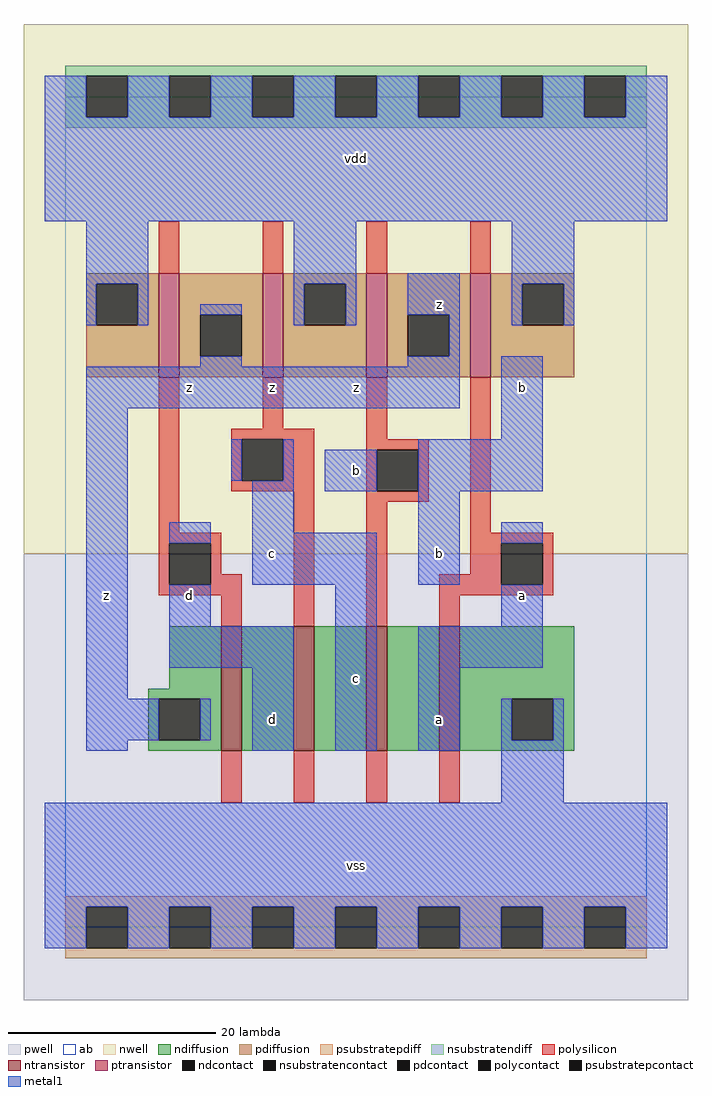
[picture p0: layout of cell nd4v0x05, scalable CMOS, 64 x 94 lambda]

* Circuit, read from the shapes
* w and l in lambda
.subckt nd4v0x05 a b c d vdd vss z
M1 n1 d z vss nfet w=12 l=2
M2 n2 c n1 vss nfet w=12 l=2
M3 n3 b n2 vss nfet w=12 l=2
M4 vss a n3 vss nfet w=12 l=2
M5 z d vdd vdd pfet w=10 l=2
M6 vdd c z vdd pfet w=10 l=2
M7 z b vdd vdd pfet w=10 l=2
M8 vdd a z vdd pfet w=10 l=2
.ends

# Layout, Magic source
magic
tech scmos
<< ab >>
rect 0 0 56 80
<< pwell >>
rect -4 -7 60 36
<< nwell >>
rect -4 36 60 87
<< polysilicon >>
rect 9 63 11 68
rect 19 63 21 68
rect 29 63 31 68
rect 39 63 41 68
rect 9 38 11 53
rect 19 48 21 53
rect 16 47 24 48
rect 16 43 17 47
rect 21 43 24 47
rect 16 42 24 43
rect 9 37 15 38
rect 9 33 10 37
rect 14 34 15 37
rect 14 33 17 34
rect 9 32 17 33
rect 15 29 17 32
rect 22 29 24 42
rect 29 47 31 53
rect 29 46 35 47
rect 29 42 30 46
rect 34 42 35 46
rect 29 41 35 42
rect 29 29 31 41
rect 39 38 41 53
rect 39 37 47 38
rect 39 34 42 37
rect 36 33 42 34
rect 46 33 47 37
rect 36 32 47 33
rect 36 29 38 32
rect 15 12 17 17
rect 22 12 24 17
rect 29 12 31 17
rect 36 12 38 17
<< ndiffusion >>
rect 10 23 15 29
rect 8 22 15 23
rect 8 18 9 22
rect 13 18 15 22
rect 8 17 15 18
rect 17 17 22 29
rect 24 17 29 29
rect 31 17 36 29
rect 38 22 49 29
rect 38 18 43 22
rect 47 18 49 22
rect 38 17 49 18
<< pdiffusion >>
rect 2 62 9 63
rect 2 58 3 62
rect 7 58 9 62
rect 2 53 9 58
rect 11 59 19 63
rect 11 55 13 59
rect 17 55 19 59
rect 11 53 19 55
rect 21 62 29 63
rect 21 58 23 62
rect 27 58 29 62
rect 21 53 29 58
rect 31 59 39 63
rect 31 55 33 59
rect 37 55 39 59
rect 31 53 39 55
rect 41 62 49 63
rect 41 58 44 62
rect 48 58 49 62
rect 41 53 49 58
<< metal1 >>
rect -2 78 2 82
rect 6 78 10 82
rect 14 78 18 82
rect 22 78 26 82
rect 30 78 34 82
rect 38 78 42 82
rect 46 78 50 82
rect 54 78 58 82
rect -2 68 58 78
rect 2 62 8 68
rect 2 58 3 62
rect 7 58 8 62
rect 22 62 28 68
rect 13 59 17 60
rect 22 58 23 62
rect 27 58 28 62
rect 33 59 38 63
rect 13 54 17 55
rect 37 55 38 59
rect 43 62 49 68
rect 43 58 44 62
rect 48 58 49 62
rect 33 54 38 55
rect 2 50 38 54
rect 2 22 6 50
rect 42 47 46 55
rect 16 43 17 47
rect 21 43 22 47
rect 10 37 14 39
rect 18 38 22 43
rect 25 42 30 46
rect 34 42 46 47
rect 18 33 30 38
rect 34 33 38 42
rect 42 37 46 39
rect 10 29 14 33
rect 10 25 22 29
rect 2 18 9 22
rect 13 18 14 22
rect 2 17 6 18
rect 18 17 22 25
rect 26 17 30 33
rect 42 29 46 33
rect 34 25 46 29
rect 34 17 38 25
rect 42 18 43 22
rect 47 18 48 22
rect 42 12 48 18
rect -2 2 58 12
rect -2 -2 2 2
rect 6 -2 10 2
rect 14 -2 18 2
rect 22 -2 26 2
rect 30 -2 34 2
rect 38 -2 42 2
rect 46 -2 50 2
rect 54 -2 58 2
<< ntransistor >>
rect 15 17 17 29
rect 22 17 24 29
rect 29 17 31 29
rect 36 17 38 29
<< ptransistor >>
rect 9 53 11 63
rect 19 53 21 63
rect 29 53 31 63
rect 39 53 41 63
<< polycontact >>
rect 17 43 21 47
rect 10 33 14 37
rect 30 42 34 46
rect 42 33 46 37
<< ndcontact >>
rect 9 18 13 22
rect 43 18 47 22
<< pdcontact >>
rect 3 58 7 62
rect 13 55 17 59
rect 23 58 27 62
rect 33 55 37 59
rect 44 58 48 62
<< psubstratepcontact >>
rect 2 -2 6 2
rect 10 -2 14 2
rect 18 -2 22 2
rect 26 -2 30 2
rect 34 -2 38 2
rect 42 -2 46 2
rect 50 -2 54 2
<< nsubstratencontact >>
rect 2 78 6 82
rect 10 78 14 82
rect 18 78 22 82
rect 26 78 30 82
rect 34 78 38 82
rect 42 78 46 82
rect 50 78 54 82
<< psubstratepdiff >>
rect 0 2 56 3
rect 0 -2 2 2
rect 6 -2 10 2
rect 14 -2 18 2
rect 22 -2 26 2
rect 30 -2 34 2
rect 38 -2 42 2
rect 46 -2 50 2
rect 54 -2 56 2
rect 0 -3 56 -2
<< nsubstratendiff >>
rect 0 82 56 83
rect 0 78 2 82
rect 6 78 10 82
rect 14 78 18 82
rect 22 78 26 82
rect 30 78 34 82
rect 38 78 42 82
rect 46 78 50 82
rect 54 78 56 82
rect 0 77 56 78
<< labels >>
rlabel metal1 4 32 4 32 6 z
rlabel metal1 12 32 12 32 6 d
rlabel metal1 12 52 12 52 6 z
rlabel metal1 28 6 28 6 6 vss
rlabel metal1 20 20 20 20 6 d
rlabel metal1 28 24 28 24 6 c
rlabel metal1 20 36 20 36 6 c
rlabel metal1 28 44 28 44 6 b
rlabel metal1 28 52 28 52 6 z
rlabel metal1 20 52 20 52 6 z
rlabel metal1 28 74 28 74 6 vdd
rlabel metal1 36 20 36 20 6 a
rlabel metal1 44 32 44 32 6 a
rlabel metal1 36 36 36 36 6 b
rlabel metal1 44 52 44 52 6 b
rlabel metal1 36 60 36 60 6 z
<< end >>
